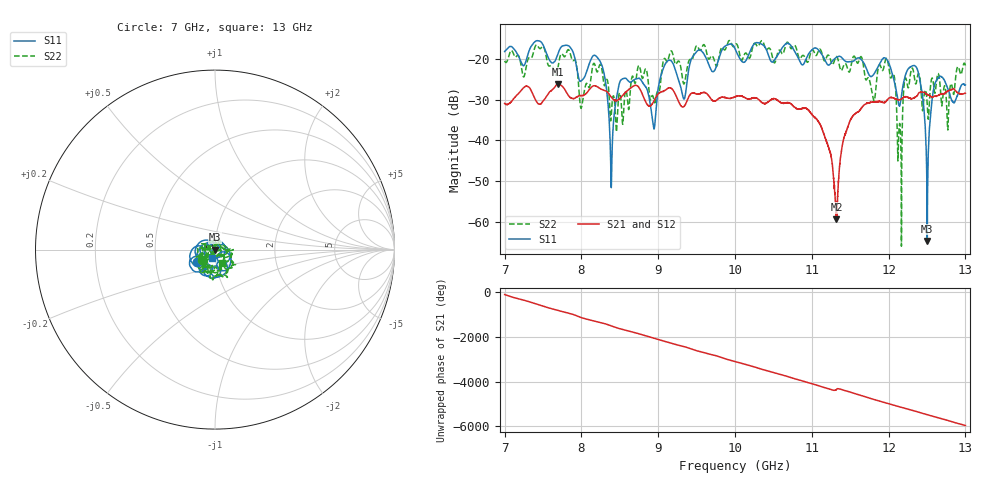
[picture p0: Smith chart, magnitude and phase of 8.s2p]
[Version] 2.0
! Rohde & Schwarz Vector Network Analyzer
! Rohde-Schwarz,ZNL20-2Port,1323001220200009,1.71.1.10-23.02.1.238
! Port Assignments:
! Nominal Port -> Actual Test Port
!  1 -> 1
!  2 -> 2
! Created: GMT+3 2024-09-24 16:05:02
# Hz S DB R 50
[Number of Ports] 2
[Two-Port Data Order] 21_12
! freq[Hz]  S11[mag dB]  S11[ang]  S21[mag dB]  S21[ang]  S12[mag dB]  S12[ang]  S22[mag dB]  S22[ang]
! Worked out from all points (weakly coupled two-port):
!   6001 points, 7 GHz to 13 GHz, reference 50 ohm
!   highest |S21| = -26.10 dB at 7.696 GHz (marker M1); lowest = -59.4 dB at 11.32 GHz (marker M2)
!   lowest |S11| = -64.7 dB at 12.5 GHz (marker M3), VSWR 1.00, Z = 50.1 + j0.0269 ohm
!   |S11| at or under -10 dB: start of sweep to end of sweep
!   |S22| runs from -66.0 to -15.4 dB; largest |S21 - S12| = 0.0011
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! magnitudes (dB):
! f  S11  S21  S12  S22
! 7 GHz  -18.1  -30.9  -31.1  -20.4
! 7.696 GHz  -18.7  -26.1  -26.1  -22.0
! 7.842 GHz  -16.8  -29.2  -29.2  -17.9
! 8 GHz  -25.3  -29.0  -29.0  -32.0
! 8.251 GHz  -20.8  -27.4  -27.3  -21.4
! 8.391 GHz  -50.6  -29.4  -29.3  -33.1
! 8.522 GHz  -25.0  -29.2  -29.3  -31.8
! 8.749 GHz  -24.7  -27.0  -26.9  -21.6
! 8.939 GHz  -36.8  -30.5  -30.5  -29.6
! 9 GHz  -27.1  -28.6  -28.6  -27.8
! 10 GHz  -17.4  -29.3  -29.2  -16.5
! 11 GHz  -17.8  -33.6  -33.5  -17.8
! 11.32 GHz  -19.5  -59.4  -57.8  -19.4
! 11.51 GHz  -20.6  -34.7  -34.8  -21.7
! 12 GHz  -20.9  -29.7  -29.7  -21.7
! 12.14 GHz  -31.5  -30.0  -30.0  -35.8
! 12.22 GHz  -24.0  -29.3  -29.2  -24.7
! 12.36 GHz  -22.0  -29.2  -29.1  -25.7
! 12.5 GHz  -64.7  -28.7  -28.7  -31.0
! 12.62 GHz  -25.2  -29.1  -29.2  -25.2
! 12.77 GHz  -27.3  -27.9  -27.9  -37.2
! 13 GHz  -26.4  -28.4  -28.3  -21.6
